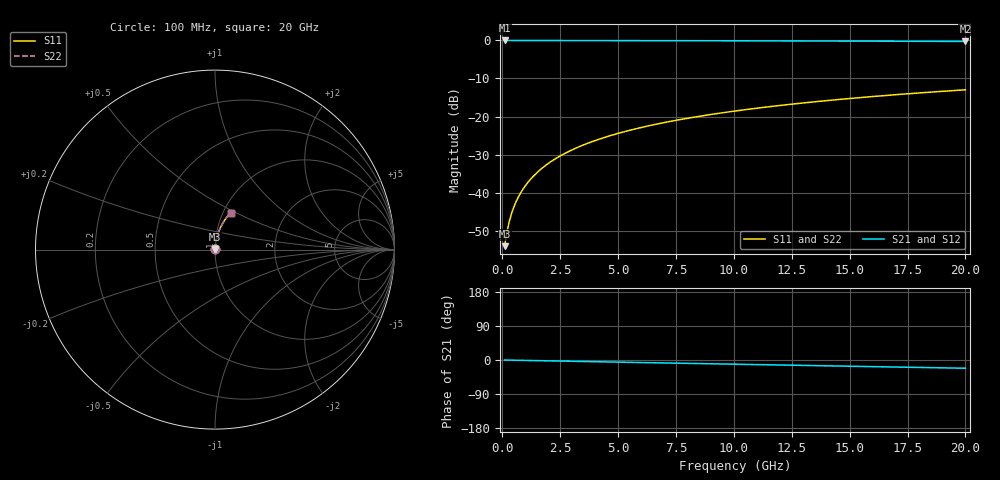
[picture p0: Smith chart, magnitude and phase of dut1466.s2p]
! Touchstone file exported from HFSS 2026.1.0
!  File:  C:/ffzhzh/LocalFiles/Ansys_Project_Files/temp_train_TMRDL_1466_1783167440_51560.aedt
!  Generated:  08:18:33 PM Jul  4, 2026
!  Design:  TMRDL
!  Project:  temp_train_TMRDL_1466_1783167440_51560
! Variables:
!  h_bsmrdl = 2um
!  h_ox = 20um
!  h_rdl = 5um
!  h_sub = 80um
!  h_tmrdl = 3.54um
!  h_tsv = 80um
!  h_via = 3um
!  l_bsmrdl = 300um
!  l_sub = 673.98um
!  l_tmrdl = 273.98um
!  m_sub = 200um
!  pitch = 49.34um
!  r_tsv = 6um
!  s_tmrdl = 10um
!  w_bsmrdl = 18um
!  w_sub = 500um
!  w_tmrdl = 21.41um
!  x_tsv_center1 = 284.685um
!  x_tsv_center2 = 602.685um
!  x_tsv_center3 = 898.075um
!  x_tsv_center4 = 1216.075um
!  x_tsv_center5 = 1511.465um
!  x_tsv_center6 = 1829.465um
# GHz S MA R 50.000000
! Terminal data exported
! Port[1] = TM_RDL1_1_T1
! Port[2] = TM_RDL1_1_T2
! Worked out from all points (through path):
!   200 points, 100 MHz to 20 GHz, reference 50 ohm
!   highest |S21| = -0.01 dB at 100 MHz (marker M1); lowest = -0.3 dB at 20 GHz (marker M2)
!   group delay of S21, straight-line fit = 3.02 ps
!   lowest |S11| = -54.0 dB at 100 MHz (marker M3), VSWR 1.00, Z = 50.1 + j0.131 ohm
!   |S11| at or under -10 dB: start of sweep to end of sweep
!   |S22| runs from -54.0 to -13.0 dB; largest |S21 - S12| = 4.1e-15
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0.1  0.001987 41.2  0.9985 -0.1  0.9985 -0.1  0.001987 41.2
! Gamma 0 0 0 0
! Port Impedance 50 0 50 0
0.2  0.003025 58.9  0.9984 -0.2  0.9984 -0.2  0.003025 58.9
0.3  0.00417 66.8  0.9984 -0.4  0.9984 -0.4  0.00417 66.8
0.4  0.005335 71.2  0.9983 -0.5  0.9983 -0.5  0.005335 71.2
0.5  0.006506 74.0  0.9983 -0.6  0.9983 -0.6  0.006506 74.0
0.6  0.00768 76.0  0.9982 -0.7  0.9982 -0.7  0.00768 76.0
0.8  0.01004 78.6  0.9981 -0.9  0.9981 -0.9  0.01004 78.6
1.1  0.01361 80.8  0.998 -1.2  0.998 -1.2  0.01361 80.8
1.5  0.0184 82.2  0.9979 -1.7  0.9979 -1.7  0.0184 82.2
1.8  0.022 82.7  0.9978 -2.0  0.9978 -2.0  0.022 82.7
2.1  0.0256 83.0  0.9976 -2.4  0.9976 -2.4  0.0256 83.0
2.7  0.0328 83.2  0.9973 -3.0  0.9973 -3.0  0.0328 83.2
3.5  0.04237 82.9  0.9967 -3.9  0.9967 -3.9  0.04237 82.9
4.2  0.05069 82.4  0.9962 -4.7  0.9962 -4.7  0.05069 82.4
5  0.06015 81.7  0.9954 -5.6  0.9954 -5.6  0.06015 81.7
5.9  0.07071 80.9  0.9944 -6.6  0.9944 -6.6  0.07071 80.9
6.8  0.08118 80.0  0.9934 -7.6  0.9934 -7.6  0.08118 80.0
8.3  0.09843 78.6  0.9914 -9.3  0.9914 -9.3  0.09843 78.6
10.1  0.1188 76.7  0.9887 -11.2  0.9887 -11.2  0.1188 76.7
13.4  0.1554 73.4  0.9829 -14.8  0.9829 -14.8  0.1554 73.4
16.7  0.1907 70.1  0.9761 -18.3  0.9761 -18.3  0.1907 70.1
20  0.2247 66.7  0.9684 -21.7  0.9684 -21.7  0.2247 66.7
